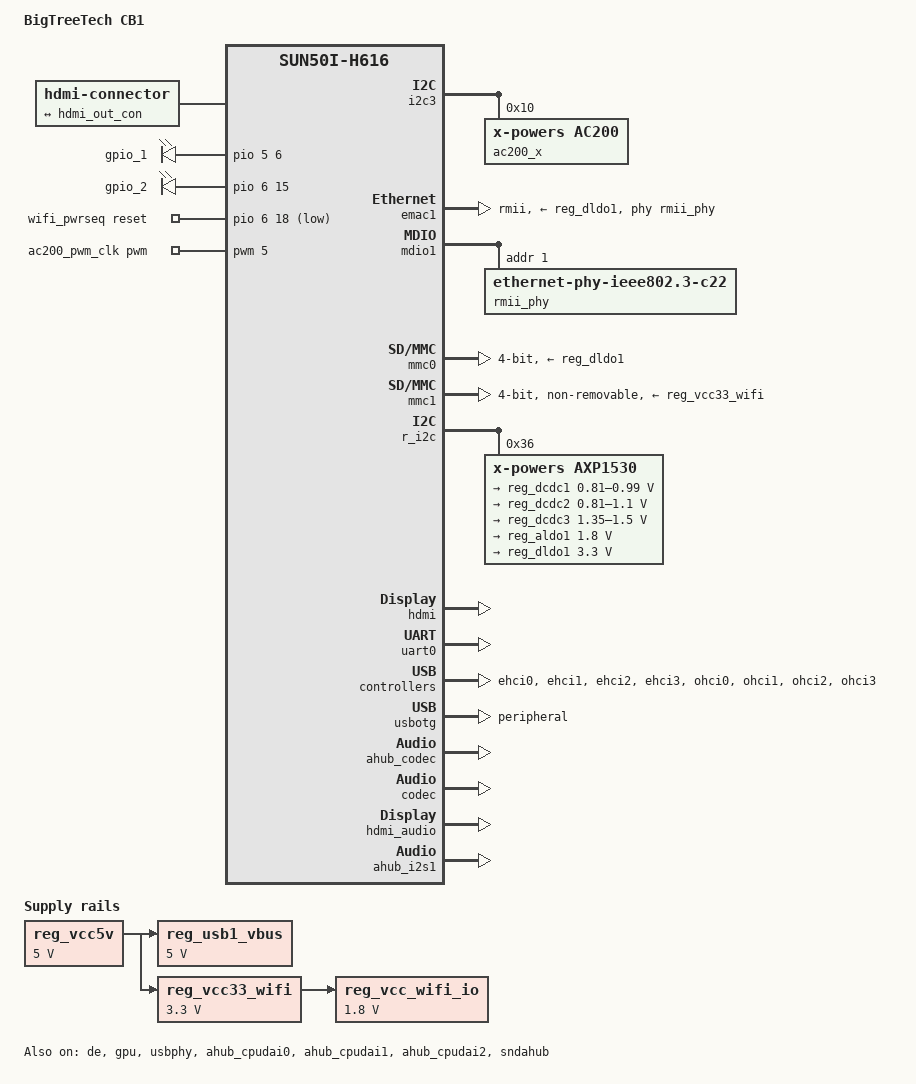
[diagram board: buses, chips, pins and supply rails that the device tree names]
// SPDX-License-Identifier: (GPL-2.0+ or MIT)
/*
 * Copyright (C) 2020 Arm Ltd.
 */

/dts-v1/;

#include "sun50i-h616.dtsi"

#include <dt-bindings/gpio/gpio.h>
#include <dt-bindings/interrupt-controller/arm-gic.h>
#include <dt-bindings/leds/common.h>
#include "sun50i-h616-cpu-opp.dtsi"

/ {
	model = "BigTreeTech CB1";
	compatible = "allwinner,sun50i-h616";

	aliases {
		ethernet0 = &emac1;
		serial0 = &uart0;
	};

	chosen {
		stdout-path = "serial0:115200n8";
	};

	connector {
		compatible = "hdmi-connector";
		type = "d";

		port {
			hdmi_con_in: endpoint {
				remote-endpoint = <&hdmi_out_con>;
			};
		};
	};

	leds {
		compatible = "gpio-leds";

		led-1 {
			function = LED_FUNCTION_STATUS;
			color = <LED_COLOR_ID_GREEN>;
			gpio = <&pio 7 5 GPIO_ACTIVE_HIGH>; /* PH5 */
			default-state = "on";
			status = "disabled";
		};

		gpio_1 {
			function = "wifi_power";
			gpios = <&pio 5 6 GPIO_ACTIVE_HIGH>; /* PF6 */
			default-state = "on";
		};

		gpio_2 {
			function = "wifi_wake";
			gpios = <&pio 6 15 GPIO_ACTIVE_HIGH>; /* PG15 */
			default-state = "on";
		};
	};

	reg_vcc5v: vcc5v {
		/* board wide 5V supply directly from the USB-C socket */
		compatible = "regulator-fixed";
		regulator-name = "vcc-5v";
		regulator-min-microvolt = <5000000>;
		regulator-max-microvolt = <5000000>;
		regulator-always-on;
	};

	reg_usb1_vbus: usb1-vbus {
		compatible = "regulator-fixed";
		regulator-name = "usb1-vbus";
		regulator-min-microvolt = <5000000>;
		regulator-max-microvolt = <5000000>;
		vin-supply = <&reg_vcc5v>;
		enable-active-high;
		status = "okay";
	};

	reg_vcc33_wifi: vcc33-wifi {
		/* Always on 3.3V regulator for WiFi and BT */
		compatible = "regulator-fixed";
		regulator-name = "vcc33-wifi";
		regulator-min-microvolt = <3300000>;
		regulator-max-microvolt = <3300000>;
		regulator-always-on;
		vin-supply = <&reg_vcc5v>;
	};

	reg_vcc_wifi_io: vcc-wifi-io {
		/* Always on 1.8V/300mA regulator for WiFi and BT IO */
		compatible = "regulator-fixed";
		regulator-name = "vcc-wifi-io";
		regulator-min-microvolt = <1800000>;
		regulator-max-microvolt = <1800000>;
		regulator-always-on;
		vin-supply = <&reg_vcc33_wifi>;
	};

	wifi_pwrseq: wifi-pwrseq {
		compatible = "mmc-pwrseq-simple";
		clocks = <&rtc 1>;
		clock-names = "osc32k-out";
		reset-gpios = <&pio 6 18 GPIO_ACTIVE_LOW>;  /* PG18 */
		post-power-on-delay-ms = <200>;
	};

	ws2812: ws2812 {
		compatible = "rgb-ws2812";
		pinctrl-names = "default";
		rgb_cnt = <2>;
		rgb_value = <0x000001 0x010000>;
		status = "disabled";
	};

	gpio_keys {
		compatible = "gpio-keys";
		status = "disabled";

		button_power {
			label = "Power";
			linux,code = <116>; // KEY_POWER
			debounce-interval = <100>; // ms
		};
	};

	i2c_gpio: i2c-gpio {
		#address-cells = <1>;
		#size-cells = <0>;
		compatible = "i2c-gpio";
		status = "disabled";

		i2c-gpio,delay-us = <3>; /* 100 kHz */

		tft_tp: ns2009@48 {
			compatible = "ti,tsc2007";
			reg = <0x48>;
			status = "disabled";
			ti,x-plate-ohms = <660>;
			ti,y-plate-ohms = <660>;
			ti,rt-thr = <3000>;
			ti,fuzzx = <32>;
			ti,fuzzy = <16>;
			i2c,ignore-nak = <1>;
		};

		light: bh1750@5c {
			compatible = "rohm,bh1750";
			reg = <0x5c>;
			status = "disabled";
		};
	};

	mcp2515_clock: mcp2515_clock {
		compatible = "fixed-clock";
		#clock-cells = <0>;
		clock-frequency  = <12000000>;
	};

	ac200_pwm_clk: ac200_clk {
		compatible = "pwm-clock";
		#clock-cells = <0>;
		// pwm5 period_ns = 500 > 334 for select 24M clock.
		pwms = <&pwm 5 500 1>;
		clock-frequency = <2000000>;
		status = "okay";
	};

	gpu_opp_table: opp-table-1 {
		compatible = "operating-points-v2";

		opp-200000000 {
			opp-hz = /bits/ 64 <200000000>;
			opp-microvolt = <990000>;
		};
		opp-312000000 {
			opp-hz = /bits/ 64 <312000000>;
			opp-microvolt = <990000>;
		};
		opp-432000000 {
			opp-hz = /bits/ 64 <432000000>;
			opp-microvolt = <990000>;
		};
		opp-528000000 {
			opp-hz = /bits/ 64 <528000000>;
			opp-microvolt = <990000>;
		};
		opp-650000000 {
			opp-hz = /bits/ 64 <650000000>;
			opp-microvolt = <990000>;
		};
	};
};

&pwm5 {
	// clk_bypass_output = 1 for Clock direct output without frequency division
	// so pwm5 output is 24MHz for AC200 & AC300 clock
	clk_bypass_output = <0x1>;
};

&i2c3 {
	status = "okay";
	pinctrl-0 = <&twi3_pins>;

	ac200_x: mfd@10 {
		compatible = "x-powers,ac200";
		reg = <0x10>;
		clocks = <&ac200_pwm_clk>;
		// ephy id
		nvmem-cells = <&ephy_calibration>;
		nvmem-cell-names = "calibration";

		ac200_ephy: phy {
			compatible = "x-powers,ac200-ephy";
			status = "okay";
		};

		ac200_codec: codec {
			#sound-dai-cells = <0>;
			compatible = "x-powers,ac200-codec";
			status = "disabled";
		};
	};
};

&emac1 {
	pinctrl-names = "default";
	pinctrl-0 = <&rmii_pins>;
	phy-mode = "rmii";
	phy-handle = <&rmii_phy>;
	phy-supply = <&reg_dldo1>;
	allwinner,rx-delay-ps = <3100>;
	allwinner,tx-delay-ps = <700>;
	status = "okay";
};

&mdio1 {
	rmii_phy: ethernet-phy@1 {
		compatible = "ethernet-phy-ieee802.3-c22";
		reg = <1>;
	};
};

&mmc0 {
	vmmc-supply = <&reg_dldo1>;
	no-1-8-v;
	bus-width = <4>;
	status = "okay";
};

&mmc1 {
	vmmc-supply = <&reg_vcc33_wifi>;
	vqmmc-supply = <&reg_vcc_wifi_io>;
	mmc-pwrseq = <&wifi_pwrseq>;
	bus-width = <4>;
	non-removable;
	mmc-ddr-1_8v;
	status = "okay";
};

&pio {
	can0_pin_irq: can0_pin_irq {
		function = "irq";
		bias-pull-up;
	};
};

&spi1 {
	#address-cells = <1>;
	#size-cells = <0>;
	status = "disabled";
	pinctrl-names = "default";
	pinctrl-0 = <&spi1_pins>;

	can: mcp2515@0 {
		status = "disabled";
		compatible = "microchip,mcp2515";
		reg = <0x0>;
		clocks = <&mcp2515_clock>;
		spi-max-frequency = <12500000>;
		pinctrl-names = "default";
		pinctrl-0 = <&can0_pin_irq>;
		interrupt-parent = <&pio>;
		vdd-supply = <&reg_vcc33_wifi>;
		xceiver-supply = <&reg_vcc33_wifi>;
	};

	tft_35: st7796@1 {
		status = "disabled";
		compatible = "sitronix,st7796";
		reg = <1>;
		spi-max-frequency =<12500000>;
		fps =<60>;
		buswidth = <8>;
		rotate =<0>;
		width = <480>;
		height = <320>;
		bpp = <24>;
		bgr;
		regwidth = <8>;
		debug = <0x00>;	 //0x20 show fps
		txbuflen = <307200>;
		spi-cpol;
		spi-cpha;
	};
};

&r_i2c {
	status = "okay";

	axp1530: pmic@36 {
		compatible = "x-powers,axp1530";
		status = "okay";
		reg = <0x36>;
		wakeup-source;

		standby_param: standby_param {
			vcc-dram = <0x4>;
		};

		regulators{
			reg_dcdc1: dcdc1 { // GPU
				regulator-name = "axp1530-dcdc1";
				regulator-min-microvolt = <810000>;
				regulator-max-microvolt = <990000>;
				regulator-step-delay-us = <25>;
				regulator-final-delay-us = <50>;
				regulator-always-on;
			};

			reg_dcdc2: dcdc2 { // CPU
				regulator-name = "axp1530-dcdc2";
				regulator-min-microvolt = <810000>;
				regulator-max-microvolt = <1100000>;
				regulator-step-delay-us = <25>;
				regulator-final-delay-us = <50>;
				regulator-ramp-delay = <200>; // FIXME
				regulator-always-on;
			};

			reg_dcdc3: dcdc3 { // DRAM
				regulator-name = "axp1530-dcdc3";
				regulator-min-microvolt = <1350000>;
				regulator-max-microvolt = <1500000>;
				regulator-step-delay-us = <25>;
				regulator-final-delay-us = <50>;
				regulator-always-on;
			};

			reg_aldo1: ldo1 {
				regulator-name = "axp1530-aldo1";
				regulator-min-microvolt = <1800000>;
				regulator-max-microvolt = <1800000>;
				regulator-step-delay-us = <25>;
				regulator-final-delay-us = <50>;
				regulator-always-on;
			};

			reg_dldo1: ldo2 {
				regulator-name = "axp1530-dldo1";
				regulator-min-microvolt = <3300000>;
				regulator-max-microvolt = <3300000>;
				regulator-step-delay-us = <25>;
				regulator-final-delay-us = <50>;
				regulator-always-on;
			};
		};
	};
};

&de {
	status = "okay";
};

&hdmi {
	hvcc-supply = <&reg_aldo1>;
	status = "okay";
};

&hdmi_out {
	hdmi_out_con: endpoint {
		remote-endpoint = <&hdmi_con_in>;
	};
};

&gpu {
	mali-supply = <&reg_dcdc1>;
	operating-points-v2 = <&gpu_opp_table>;
	status = "okay";
};

&cpu0 {
	cpu-supply = <&reg_dcdc2>;
	status = "okay";
};

&uart0 {
	pinctrl-names = "default";
	pinctrl-0 = <&uart0_ph_pins>;
	status = "okay";
};

&usbphy {
	usb1_vbus-supply = <&reg_usb1_vbus>;
	status = "okay";
};

&ehci0 {
	status = "okay";
};

&ehci1 {
	status = "okay";
};

&ehci2 {
	status = "okay";
};

&ehci3 {
	status = "okay";
};

&ohci0 {
	status = "okay";
};

&ohci1 {
	status = "okay";
};

&ohci2 {
	status = "okay";
};

&ohci3 {
	status = "okay";
};

&usbotg {
	/*
	 * PHY0 pins are connected to a USB-C socket, but a role switch
	 * is not implemented: both CC pins are pulled to GND.
	 * The VBUS pins power the device, so a fixed peripheral mode
	 * is the best choice.
	 * The board can be powered via GPIOs, in this case port0 *can*
	 * act as a host (with a cable/adapter ignoring CC), as VBUS is
	 * then provided by the GPIOs. Any user of this setup would
	 * need to adjust the DT accordingly: dr_mode set to "host",
	 * enabling OHCI0 and EHCI0.
	 */
	dr_mode = "peripheral";
	status = "okay";
};

&ahub_codec {
	status = "okay";
};

&ahub_cpudai0 {
	status = "okay";
};

&ahub_cpudai1 {
	status = "okay";
};

&ahub_cpudai2 {
	status = "okay";
};

&sndahub {
	status = "okay";
};

&codec {
	allwinner,audio-routing =
		"Line Out", "LINEOUT";
	status = "okay";
};

&hdmi_audio {
	status = "okay";
};

&ahub_i2s1 {
	status = "okay";
};
